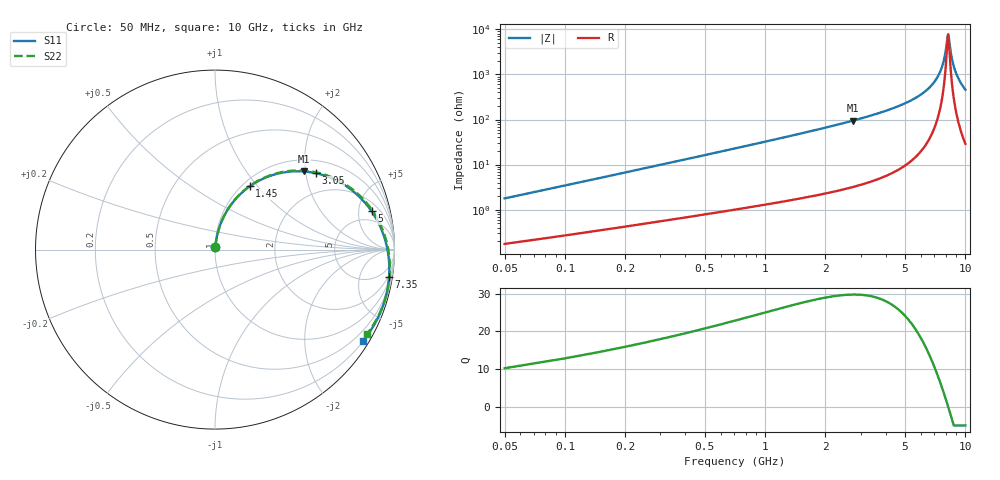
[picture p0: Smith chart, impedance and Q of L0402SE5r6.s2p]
!	AVX Thin Film Operation
!	Date:		5 January 2004
!	Description: 	Accu-L®  L0402 Series Thin Film RF Inductors
!	Part Number:	L04025R6BHNTR
!	50 MHz-20GHz Serial Measurements
#	mhz	S	db	R	50
!	S11	S11	S21	S21	S12	S12	S22	S22
!	dB	Phase	dB	Phase	dB	Phase	dB	Phase
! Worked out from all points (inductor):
!   200 points, 50 MHz to 10 GHz, reference 50 ohm
!   read as one part in series: L = 5.35 nH near 100 MHz
!   highest Q = 29.7 at 2.75 GHz (marker M1), where L = 5.48 nH
!   self-resonance near 8.2 GHz
!   S11 on the Smith chart (normalised r, x): 50 MHz: 1.00, +0.03; 1.45 GHz: 1.08, +0.91; 3.05 GHz: 1.35, +2.28; 5 GHz: 3.11, +6.88; 7.35 GHz: 1, -13; 10 GHz: 0.22, -3.52
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50  -35.45 83.1  -0.02 -1.1  -0.02 -1.1  -35.45 83.1
100  -29.75 83.3  -0.03 -2.0  -0.03 -2.0  -29.75 83.3
150  -26.39 82.8  -0.04 -3.0  -0.04 -3.0  -26.39 82.9
250  -22.15 81.5  -0.07 -4.9  -0.07 -4.9  -22.15 81.5
400  -18.25 79.1  -0.12 -7.8  -0.12 -7.8  -18.25 79.2
800  -12.56 72.3  -0.34 -15.1  -0.34 -15.1  -12.56 72.4
1450  -7.92 61.2  -0.91 -26.4  -0.91 -26.4  -7.92 61.5
1750  -6.55 56.4  -1.26 -31.3  -1.26 -31.3  -6.55 56.7
2750  -3.62 41.3  -2.74 -46.4  -2.74 -46.4  -3.62 41.9
3050  -3.04 37.2  -3.28 -50.5  -3.28 -50.5  -3.04 37.8
3400  -2.48 32.6  -3.96 -55.0  -3.96 -55.0  -2.49 33.3
5000  -0.93 13.8  -7.89 -73.2  -7.89 -73.2  -0.93 14.9
5050  -0.90 13.3  -8.04 -73.7  -8.04 -73.7  -0.90 14.4
6700  -0.27 -3.1  -14.91 -87.8  -14.91 -87.8  -0.27 -1.5
7350  -0.16 -9.0  -19.95 -90.5  -19.95 -90.5  -0.16 -7.3
7800  -0.12 -13.0  -26.35 -86.6  -26.35 -86.6  -0.12 -11.1
8200  -0.11 -16.4  -38.03 -15.7  -38.03 -15.7  -0.11 -14.4
8350  -0.11 -17.7  -33.51 37.2  -33.51 37.2  -0.11 -15.7
8600  -0.12 -19.9  -26.57 56.0  -26.57 56.0  -0.12 -17.7
8900  -0.14 -22.4  -21.97 59.9  -21.97 59.9  -0.13 -20.2
9350  -0.18 -26.2  -17.81 59.6  -17.81 59.6  -0.18 -23.8
10000  -0.28 -31.6  -14.06 56.3  -14.06 56.3  -0.28 -28.9
